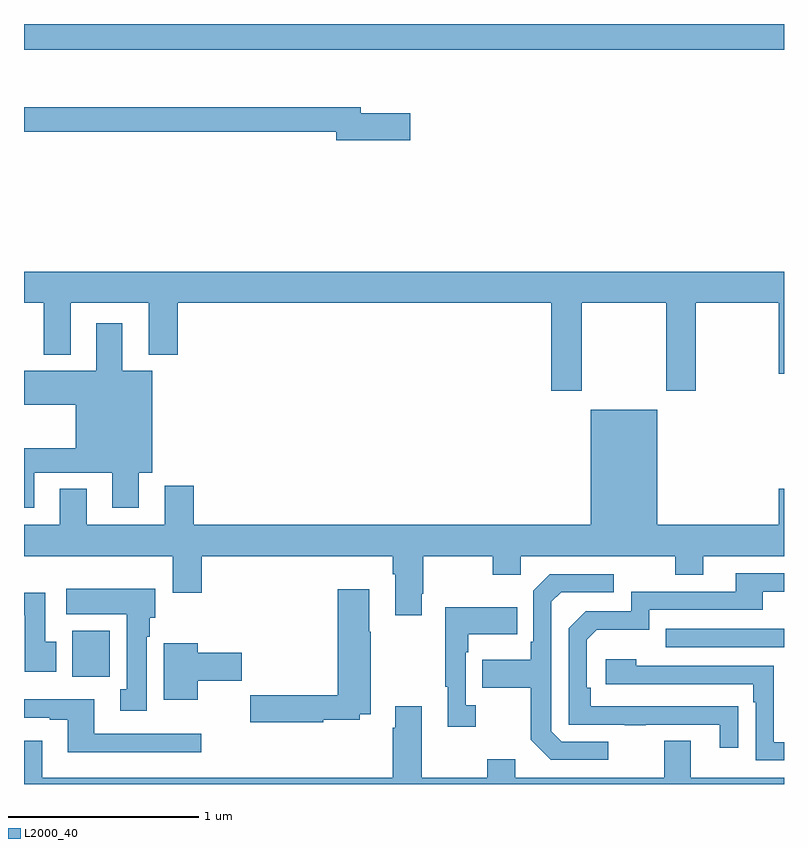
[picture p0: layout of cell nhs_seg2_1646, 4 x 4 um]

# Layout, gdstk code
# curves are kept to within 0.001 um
import gdstk
lib = gdstk.Library(unit=1e-6, precision=1e-09)
def R(c, l, rs):  # rectangles x0, y0, x1, y1
    for r in rs: c.add(gdstk.rectangle(r[:2], r[2:], *l))
def P(c, l, *ps):  # polygons
    for p in ps: c.add(gdstk.Polygon(p, *l))
L2000_40 = (2000, 40)

nhs_seg2_1646 = lib.new_cell('nhs_seg2_1646')
R(nhs_seg2_1646, L2000_40, [(197.255,616.364,197.452,616.606), (200.377,616.521,201,616.617), (197,619.664,201,619.8)])
P(nhs_seg2_1646, L2000_40, [(199.033,619.329),(198.772,619.329),(198.772,619.363),(197,619.363),(197,619.234),(198.644,619.234),(198.644,619.187),(199.033,619.187)],
  [(199.935,618.332),(200.38,618.332),(200.38,617.871),(200.535,617.871),(200.535,618.332),(200.972,618.332),(200.972,617.958),(201,617.958),(201,618.496),(197,618.496),(197,618.332),(197.105,618.332),(197.105,618.059),(197.245,618.059),(197.245,618.332),(197.657,618.332),(197.657,618.059),(197.81,618.059),(197.81,618.332),(199.775,618.332),(199.775,617.871),(199.935,617.871)],
  [(197.053,617.438),(197.465,617.438),(197.465,617.253),(197.605,617.253),(197.605,617.438),(197.674,617.438),(197.674,617.974),(197.518,617.974),(197.518,618.226),(197.381,618.226),(197.381,617.974),(197,617.974),(197,617.795),(197.273,617.795),(197.273,617.566),(197,617.566),(197,617.253),(197.053,617.253)],
  [(199.093,616.801),(199.101,616.801),(199.101,617),(199.468,617),(199.468,616.901),(199.614,616.901),(199.614,617),(200.428,617),(200.428,616.901),(200.575,616.901),(200.575,617),(201,617),(201,617.353),(200.972,617.353),(200.972,617.164),(200.332,617.164),(200.332,617.77),(199.982,617.77),(199.982,617.164),(197.894,617.164),(197.894,617.371),(197.741,617.371),(197.741,617.164),(197.329,617.164),(197.329,617.353),(197.189,617.353),(197.189,617.164),(197,617.164),(197,617),(197.783,617),(197.783,616.806),(197.936,616.806),(197.936,617),(198.941,617),(198.941,616.904),(198.953,616.904),(198.953,616.689),(199.093,616.689)],
  [(200.759,616.208),(199.982,616.209),(199.982,616.306),(199.962,616.306),(199.962,616.56),(200.015,616.613),(200.292,616.613),(200.292,616.716),(200.887,616.716),(200.887,616.812),(201,616.812),(201,616.908),(200.747,616.908),(200.747,616.812),(200.196,616.812),(200.196,616.71),(199.956,616.71),(199.866,616.62),(199.866,616.113),(200.161,616.113),(200.161,616.108),(200.273,616.108),(200.273,616.113),(200.663,616.113),(200.663,615.99),(200.759,615.99)],
  [(200.074,616.023),(199.83,616.023),(199.776,616.077),(199.776,616.758),(199.827,616.809),(200.104,616.809),(200.104,616.905),(199.767,616.905),(199.68,616.818),(199.68,616.549),(199.668,616.549),(199.668,616.453),(199.411,616.453),(199.411,616.306),(199.668,616.306),(199.668,616.033),(199.773,615.927),(200.074,615.927)],
  [(197.647,616.574),(197.662,616.574),(197.662,616.674),(197.692,616.674),(197.692,616.828),(197.223,616.828),(197.223,616.694),(197.54,616.694),(197.54,616.298),(197.507,616.298),(197.507,616.185),(197.647,616.185)],
  [(198.576,616.138),(198.768,616.138),(198.768,616.166),(198.825,616.166),(198.825,616.601),(198.817,616.601),(198.817,616.825),(198.65,616.825),(198.65,616.268),(198.192,616.268),(198.192,616.126),(198.576,616.126)],
  [(197.17,616.548),(197.113,616.548),(197.113,616.807),(197,616.807),(197,616.688),(197.003,616.688),(197.003,616.392),(197.17,616.392)],
  [(199.378,616.214),(199.326,616.214),(199.326,616.493),(199.339,616.493),(199.339,616.589),(199.595,616.589),(199.595,616.729),(199.218,616.729),(199.218,616.313),(199.229,616.313),(199.229,616.101),(199.378,616.101)],
  [(197.914,616.343),(198.145,616.343),(198.145,616.49),(197.914,616.49),(197.914,616.54),(197.735,616.54),(197.735,616.244),(197.914,616.244)],
  [(201,616.02),(200.946,616.02),(200.946,616.422),(200.222,616.422),(200.222,616.456),(200.061,616.456),(200.061,616.326),(200.837,616.326),(200.837,616.229),(200.85,616.229),(200.85,615.924),(201,615.924)],
  [(197.932,616.065),(197.371,616.065),(197.371,616.246),(197,616.246),(197,616.149),(197.135,616.149),(197.135,616.137),(197.231,616.137),(197.231,615.968),(197.932,615.968)],
  [(201,615.832),(200.509,615.832),(200.509,616.027),(200.369,616.027),(200.369,615.832),(199.585,615.832),(199.585,615.931),(199.438,615.931),(199.438,615.832),(199.093,615.832),(199.093,616.21),(198.953,616.21),(198.953,616.097),(198.941,616.097),(198.941,615.832),(197.095,615.832),(197.095,616.027),(197,616.027),(197,615.8),(201,615.8)])

lib.write_gds('nhs_seg2_1646.gds')
